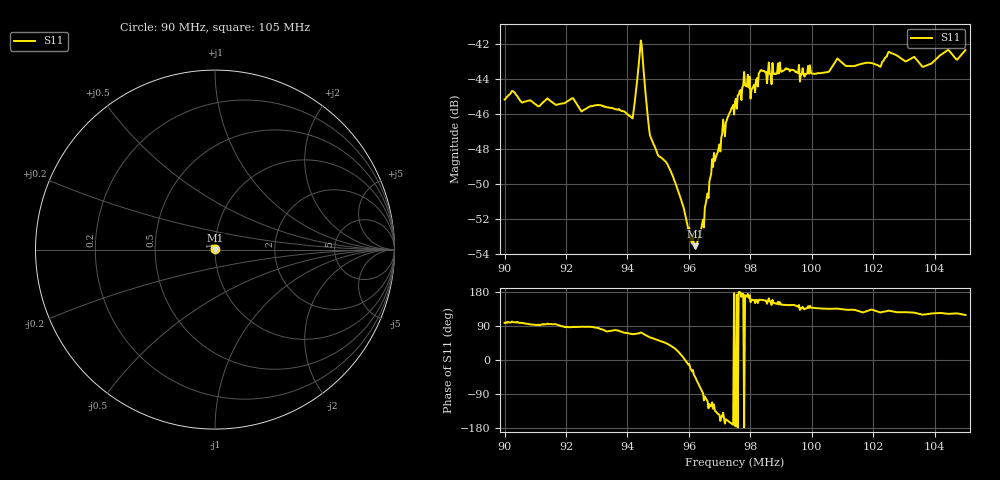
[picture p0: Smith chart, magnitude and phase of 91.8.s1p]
# HZ S RI R 50
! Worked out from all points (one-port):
!   505 points, 90 MHz to 105 MHz, reference 50 ohm
!   lowest |S11| = -53.6 dB at 96.19 MHz (marker M1), VSWR 1.00, Z = 50.2 - j0.145 ohm
!   |S11| at or under -10 dB: start of sweep to end of sweep
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9e7  -0.000772 0.00545
9.026786e7  -0.000999 0.00574
9.107143e7  -0.000223 0.00528
9.187501e7  0.000105 0.00536
9.375001e7  0.00125 0.00498
9.416668e7  0.00181 0.00451
9.443454e7  0.00244 0.00774
9.449406e7  0.00246 0.00679
9.467263e7  0.00226 0.00424
9.476192e7  0.00221 0.00367
9.562502e7  0.00279 0.00126
9.604169e7  0.00208 -0.000803
9.61905e7  0.00152 -0.00145
9.642859e7  0.000306 -0.00241
9.68155e7  -0.00178 -0.00344
9.750002e7  -0.0054 -0.000585
9.779764e7  -0.00659 -0.000267
9.80655e7  -0.00552 0.00215
9.833336e7  -0.00621 0.00241
9.937503e7  -0.00548 0.00384
1.004762e8  -0.00468 0.00463
1.008631e8  -0.00509 0.00504
1.0125e8  -0.00463 0.00505
1.022024e8  -0.00404 0.00553
1.025298e8  -0.00481 0.00577
1.03125e8  -0.00417 0.00577
1.036608e8  -0.00342 0.00592
1.05e8  -0.00367 0.00667
